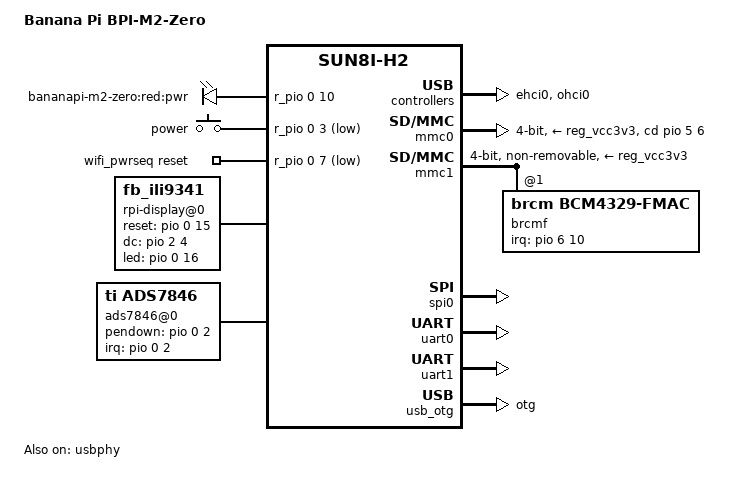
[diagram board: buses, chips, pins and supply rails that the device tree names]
// SPDX-License-Identifier: (GPL-2.0+ OR MIT)
/*
 * Copyright (C) 2017 Icenowy Zheng <icenowy@aosc.io>
 *
 * Based on sun8i-h3-bananapi-m2-plus.dts, which is:
 *   Copyright (C) 2016 Chen-Yu Tsai <wens@csie.org>
 */

/dts-v1/;
#include "sun8i-h3.dtsi"
#include "sunxi-common-regulators.dtsi"

#include <dt-bindings/gpio/gpio.h>
#include <dt-bindings/input/input.h>

/ {
	model = "Banana Pi BPI-M2-Zero";
	compatible = "sinovoip,bpi-m2-zero", "allwinner,sun8i-h2-plus";

	aliases {
		serial0 = &uart0;
		serial1 = &uart1;
	};

	chosen {
		stdout-path = "serial0:115200n8";
	};

	leds {
		compatible = "gpio-leds";
		pinctrl-names = "default";

		pwr_led {
			label = "bananapi-m2-zero:red:pwr";
			gpios = <&r_pio 0 10 GPIO_ACTIVE_HIGH>; /* PL10 */
			default-state = "on";
		};
	};

	gpio_keys {
		compatible = "gpio-keys";
		pinctrl-names = "default";

		sw4 {
			label = "power";
			linux,code = <BTN_0>;
			gpios = <&r_pio 0 3 GPIO_ACTIVE_LOW>;
		};
	};

	wifi_pwrseq: wifi_pwrseq {
		compatible = "mmc-pwrseq-simple";
		pinctrl-names = "default";
		reset-gpios = <&r_pio 0 7 GPIO_ACTIVE_LOW>; /* PL7 */
	};

	/* modprobe fbtft_device custom name=rpi-display gpios=reset:15,led:16,dc:68 cs=0 speed=32000000 rotate=180 busnum=0 */
	/* modprobe ads7846 model=7846 cs=1 gpio_pendown=25 speed=2000000 keep_vref_on=1 x_plate_ohms=60 pressure_max=255 x_min=200 x_max=3900 y_min=200 y_max=3900 */
	/* modprobe ads7846 gpio_pendown=25 speed=2000000 keep_vref_on=1 x_plate_ohms=60 pressure_max=255 x_min=200 x_max=3900 y_min=200 y_max=3900 */

        fbtft_rst: fbtft_rst {
                pins = "PA15";
                function = "gpio_out";
        };

        fbtft_dc: fbtft_dc {
                pins = "PC4";
                function = "gpio_out";
        };

        fbtft_led: fbtft_led {
                pins = "PA16";
                function = "gpio_out";
        };

	rpi-display@0 {
		compatible = "fb_ili9341";
		reg = <0>;
		status = "okay";

		pinctrl-names = "default";
		pinctrl-0 = <&fbtft_rst &fbtft_dc &fbtft_led>;

		spi-max-frequency = <32000000>;
		rotate = <180>;
		bgr = <0>;
		fps = <30>;
		buswidth = <8>;
		backlight = <0>;
		readwrite = <1>;
		reset-gpios = <&pio 0 15 0>;	/* PA15, pio out */
		dc-gpios = <&pio 2 4 0>;	/* PC4, pio out */
		led-gpios = <&pio 0 16 0>;	/* PA16, pio out */
		debug = <0>;
	};

        ads7846_pins: ads7846_pins {
                pins= "PA2";
                function = "irq";
        };

	ads7846@0 {
                compatible = "ti,ads7846";
                reg = <1>; /* Chip Select 1 */
        	status = "okay";

                pinctrl-names = "default";
                pinctrl-0 = <&ads7846_pins>;
                spi-max-frequency = <200000>;
                interrupt-parent = <&pio>;
                interrupts = <0 2 2>; /* PA2 IRQ_TYPE_EDGE_FALLING */
                pendown-gpio = <&pio 0 2 0>; /* PA2 */

                /* driver defaults, optional */
                ti,x-min = /bits/ 16 <200>;
                ti,x-max = /bits/ 16 <3900>;
                ti,y-min = /bits/ 16 <200>;
                ti,y-max = /bits/ 16 <3900>;
                ti,swap-xy = <0>;
                ti,pressure-min = /bits/ 16 <0>;
                ti,pressure-max = /bits/ 16 <255>;
                ti,x-plate-ohms = /bits/ 16 <60>;
                ti,debounce_max = /bits/ 16 <15000>;
                ti,debounce_tol = /bits/ 16 <65535>;
                ti,debounce_rep = /bits/ 16 <100>;
                ti,vref-delay-usecs = /bits/ 16 <450>;
                ti,keep_vref_on =  <1>;
                ti,settle_delay_usecs = /bits/ 16 <100>;
                ti,penirq-recheck-delay-usecs = /bits/ 16 <100>;
        };
};

&ehci0 {
	status = "okay";
};

&mmc0 {
	vmmc-supply = <&reg_vcc3v3>;
	bus-width = <4>;
	/*
	 * On the production batch of this board the card detect GPIO is
	 * high active (card inserted), although on the early samples it's
	 * low active.
	 */
	cd-gpios = <&pio 5 6 GPIO_ACTIVE_HIGH>; /* PF6 */
	status = "okay";
};

&mmc1 {
	vmmc-supply = <&reg_vcc3v3>;
	vqmmc-supply = <&reg_vcc3v3>;
	mmc-pwrseq = <&wifi_pwrseq>;
	bus-width = <4>;
	non-removable;
	status = "okay";

	brcmf: wifi@1 {
		reg = <1>;
		compatible = "brcm,bcm4329-fmac";
		interrupt-parent = <&pio>;
		interrupts = <6 10 IRQ_TYPE_LEVEL_LOW>; /* PG10 / EINT10 */
		interrupt-names = "host-wake";
	};
};

&ohci0 {
	status = "okay";
};

&spi0 {
	status = "okay";
	__overlay__ {
		spi0_cs1: spi0_cs1 {
			pins = "PC7";
			function = "gpio_out";
			output-high;
		};
	};
};

&uart0 {
	pinctrl-names = "default";
	pinctrl-0 = <&uart0_pins_a>;
	status = "okay";
};

&uart1 {
	pinctrl-names = "default";
	pinctrl-0 = <&uart1_pins>, <&uart1_rts_cts_pins>;
	status = "okay";
};

&usb_otg {
	dr_mode = "otg";
	status = "okay";
};

&usbphy {
	usb0_id_det-gpios = <&r_pio 0 6 GPIO_ACTIVE_HIGH>; /* PL6 */
	/*
	 * There're two micro-USB connectors, one is power-only and another is
	 * OTG. The Vbus of these two connectors are connected together, so
	 * the external USB device will be powered just by the power input
	 * from the power-only USB port.
	 */
	status = "okay";
};

